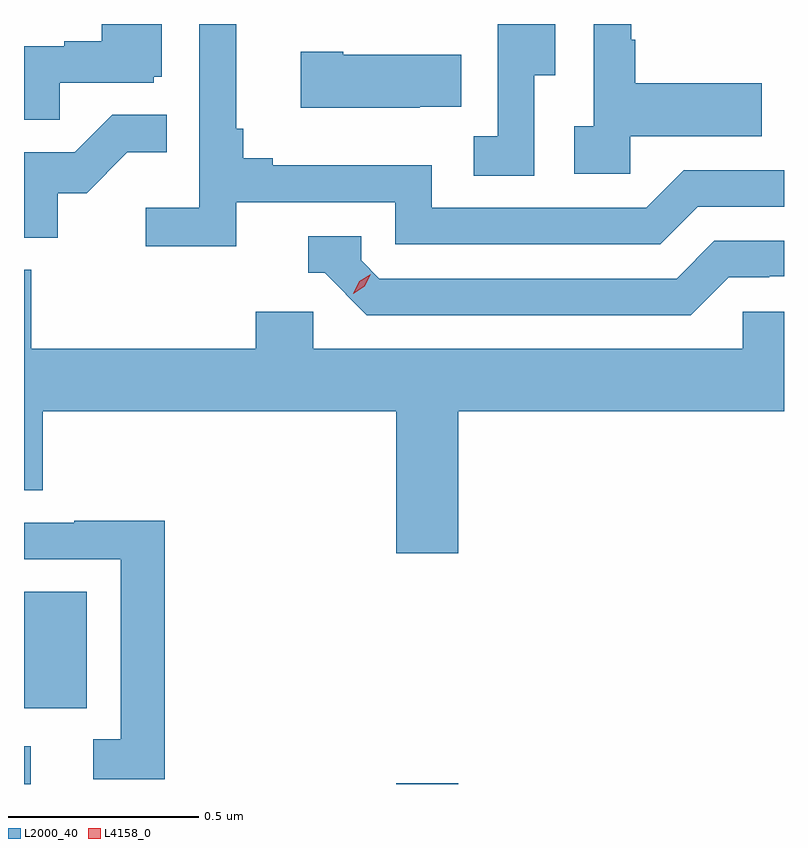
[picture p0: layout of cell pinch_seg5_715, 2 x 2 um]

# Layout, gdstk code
import gdstk
lib = gdstk.Library(unit=1e-6, precision=1e-09)
def R(c, l, rs):  # rectangles x0, y0, x1, y1
    for r in rs: c.add(gdstk.rectangle(r[:2], r[2:], *l))
def P(c, l, *ps):  # polygons
    for p in ps: c.add(gdstk.Polygon(p, *l))
L2000_40 = (2000, 40)
L4158_0 = (4158, 0)

pinch_seg5_715 = lib.new_cell('pinch_seg5_715')
R(pinch_seg5_715, L2000_40, [(1135.057,846.455,1135.075,846.554), (1136.036,846.455,1136.2,846.457), (1135.058,846.654,1135.222,846.961)])
P(pinch_seg5_715, L2000_40, [(1135.616,847.986),(1136.034,847.986),(1136.034,847.875),(1136.731,847.875),(1136.83,847.974),(1137.057,847.974),(1137.057,848.07),(1136.793,848.07),(1136.694,847.971),(1136.13,847.971),(1136.13,848.083),(1135.711,848.083),(1135.711,848.102),(1135.634,848.102),(1135.634,848.179),(1135.615,848.179),(1135.615,848.455),(1135.518,848.455),(1135.518,847.972),(1135.377,847.972),(1135.377,847.87),(1135.616,847.87)],
  [(1136.4,848.32),(1136.455,848.32),(1136.455,848.455),(1136.304,848.455),(1136.304,848.159),(1136.241,848.159),(1136.241,848.056),(1136.4,848.056)],
  [(1136.652,848.159),(1136.999,848.159),(1136.999,848.299),(1136.665,848.299),(1136.665,848.414),(1136.655,848.414),(1136.655,848.455),(1136.556,848.455),(1136.556,848.186),(1136.505,848.186),(1136.505,848.061),(1136.652,848.061)],
  [(1135.151,848.301),(1135.398,848.301),(1135.398,848.316),(1135.42,848.316),(1135.42,848.455),(1135.262,848.455),(1135.262,848.41),(1135.163,848.41),(1135.163,848.397),(1135.057,848.397),(1135.057,848.203),(1135.151,848.203)],
  [(1136.099,848.237),(1136.207,848.237),(1136.207,848.374),(1135.897,848.374),(1135.897,848.382),(1135.785,848.382),(1135.785,848.234),(1136.099,848.234)],
  [(1135.146,848.01),(1135.222,848.01),(1135.329,848.117),(1135.433,848.117),(1135.433,848.216),(1135.289,848.216),(1135.191,848.118),(1135.057,848.118),(1135.057,847.893),(1135.146,847.893)],
  [(1136.911,847.788),(1137.018,847.788),(1137.018,847.791),(1137.057,847.791),(1137.057,847.884),(1136.874,847.884),(1136.775,847.785),(1135.992,847.785),(1135.944,847.833),(1135.944,847.896),(1135.805,847.896),(1135.805,847.8),(1135.848,847.8),(1135.959,847.689),(1136.812,847.689)],
  [(1136.2,847.436),(1137.057,847.436),(1137.057,847.698),(1136.949,847.698),(1136.949,847.6),(1135.818,847.6),(1135.818,847.698),(1135.667,847.698),(1135.667,847.6),(1135.076,847.6),(1135.076,847.808),(1135.057,847.808),(1135.057,847.228),(1135.106,847.228),(1135.106,847.436),(1136.036,847.436),(1136.036,847.062),(1136.2,847.062)],
  [(1135.427,847.148),(1135.189,847.148),(1135.189,847.143),(1135.057,847.143),(1135.057,847.047),(1135.311,847.047),(1135.311,846.573),(1135.239,846.573),(1135.239,846.468),(1135.427,846.468)])
P(pinch_seg5_715, L4158_0, [(1135.923,847.745),(1135.923,847.746),(1135.939,847.778),(1135.97,847.797),(1135.97,847.797),(1135.97,847.797),(1135.954,847.765),(1135.923,847.745)])

lib.write_gds('pinch_seg5_715.gds')
